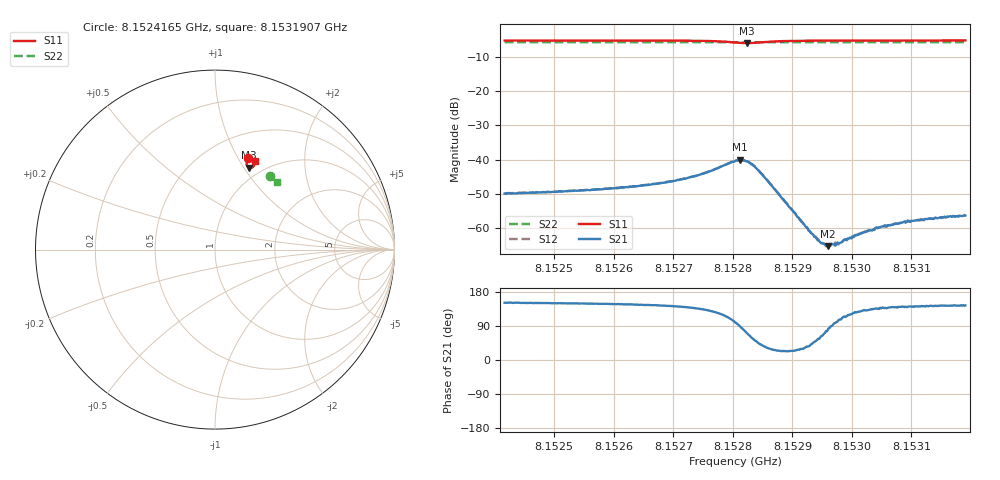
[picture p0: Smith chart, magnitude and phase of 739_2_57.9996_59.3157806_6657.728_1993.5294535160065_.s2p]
#  HZ  S  RI  R  50.00
! Rohde & Schwarz Vector Network Analyzer
! Rohde-Schwarz,ZNB20-2Port,1311601062101988,3.16
! Created: UTC 3/21/2024, 1:23:25 AM
! freq[Hz]  re:S11  im:S11  re:S21  im:S21  re:S12  im:S12  re:S22  im:S22
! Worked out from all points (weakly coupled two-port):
!   401 points, 8.1524165 GHz to 8.1531907 GHz, reference 50 ohm
!   highest |S21| = -40.04 dB at 8.1528113 GHz (marker M1); lowest = -65.2 dB at 8.1529604 GHz (marker M2)
!   lowest |S11| = -6.1 dB at 8.152823 GHz (marker M3), VSWR 2.96, Z = 43.6 + j52.8 ohm
!   |S11| at or under -10 dB: nowhere
!   |S22| runs from -5.9 to -5.8 dB; largest |S21 - S12| = 0.00023
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8.15241653e9  0.1834 0.5082  -0.00281 0.00155  -0.0028 0.00164  0.3063 0.4093
8.1525462e9  0.1935 0.5043  -0.00307 0.00183  -0.00305 0.00192  0.3128 0.404
8.1526062e9  0.1988 0.502  -0.00325 0.00206  -0.0033 0.00215  0.3158 0.4016
8.15267587e9  0.2059 0.498  -0.00363 0.00265  -0.00366 0.00273  0.3194 0.3987
8.15273974e9  0.2144 0.4901  -0.00421 0.00408  -0.00421 0.00415  0.3224 0.3959
8.15280361e9  0.2112 0.4599  -0.00153 0.00942  -0.0016 0.00945  0.3249 0.3923
8.15281135e9  0.2037 0.456  9.16e-05 0.00995  0.000121 0.00989  0.325 0.3918
8.15282296e9  0.1895 0.4567  0.00283 0.00896  0.00299 0.00912  0.325 0.3917
8.15283457e9  0.179 0.4661  0.00465 0.0067  0.0048 0.00676  0.3252 0.3918
8.15284812e9  0.1768 0.4791  0.00478 0.00399  0.00491 0.00397  0.3259 0.3918
8.15293328e9  0.1994 0.4982  0.000607 0.000568  0.000629 0.00055  0.3311 0.3886
8.15294489e9  0.2015 0.4982  0.000375 0.000548  0.000367 0.000545  0.3316 0.3882
8.15295457e9  0.2028 0.4981  0.000189 0.00056  0.000166 0.000568  0.3321 0.3877
8.15296037e9  0.2038 0.498  6.81e-05 0.000548  7.51e-05 0.000561  0.3324 0.3875
8.15297779e9  0.2061 0.4976  -0.000163 0.000581  -0.000159 0.000564  0.3332 0.3867
8.15302037e9  0.211 0.4967  -0.000587 0.000655  -0.000571 0.000677  0.3354 0.3848
8.15304359e9  0.2133 0.4959  -0.000717 0.000716  -0.000719 0.000701  0.3364 0.3838
8.15305327e9  0.2141 0.4958  -0.000793 0.000736  -0.000778 0.000726  0.3369 0.3835
8.15306295e9  0.2151 0.4954  -0.000836 0.000734  -0.000833 0.000746  0.3373 0.3829
8.15309778e9  0.2182 0.4945  -0.000969 0.000771  -0.00097 0.000783  0.3391 0.3815
8.15312681e9  0.2205 0.4936  -0.00108 0.000835  -0.00108 0.000848  0.3403 0.3802
8.15319068e9  0.2255 0.4918  -0.00125 0.000906  -0.00126 0.000952  0.3432 0.3774
